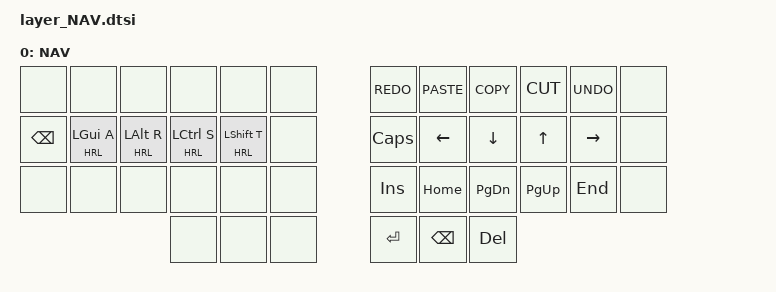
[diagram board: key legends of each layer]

/ {
    keymap {
        compatible = "zmk,keymap";

        navigation {
            display-name = "NAV";
            bindings = <
&none     &none        &none        &none         &none         &none    &kp K_REDO    &kp K_PASTE     &kp K_COPY      &kp K_CUT     &kp K_UNDO       &none
&kp BSPC  &HRL LGUI A  &HRL LALT R  &HRL LCTRL S  &HRL LSHFT T  &none    &kp CAPSLOCK  &kp LEFT_ARROW  &kp DOWN_ARROW  &kp UP_ARROW  &kp RIGHT_ARROW  &none
&none     &none        &none        &none         &none         &none    &kp INS       &kp HOME        &kp PG_DN       &kp PG_UP     &kp END          &none
                                    &none         &none         &none    &kp RET       &kp BSPC        &kp DEL
            >;
        };
    };
};
